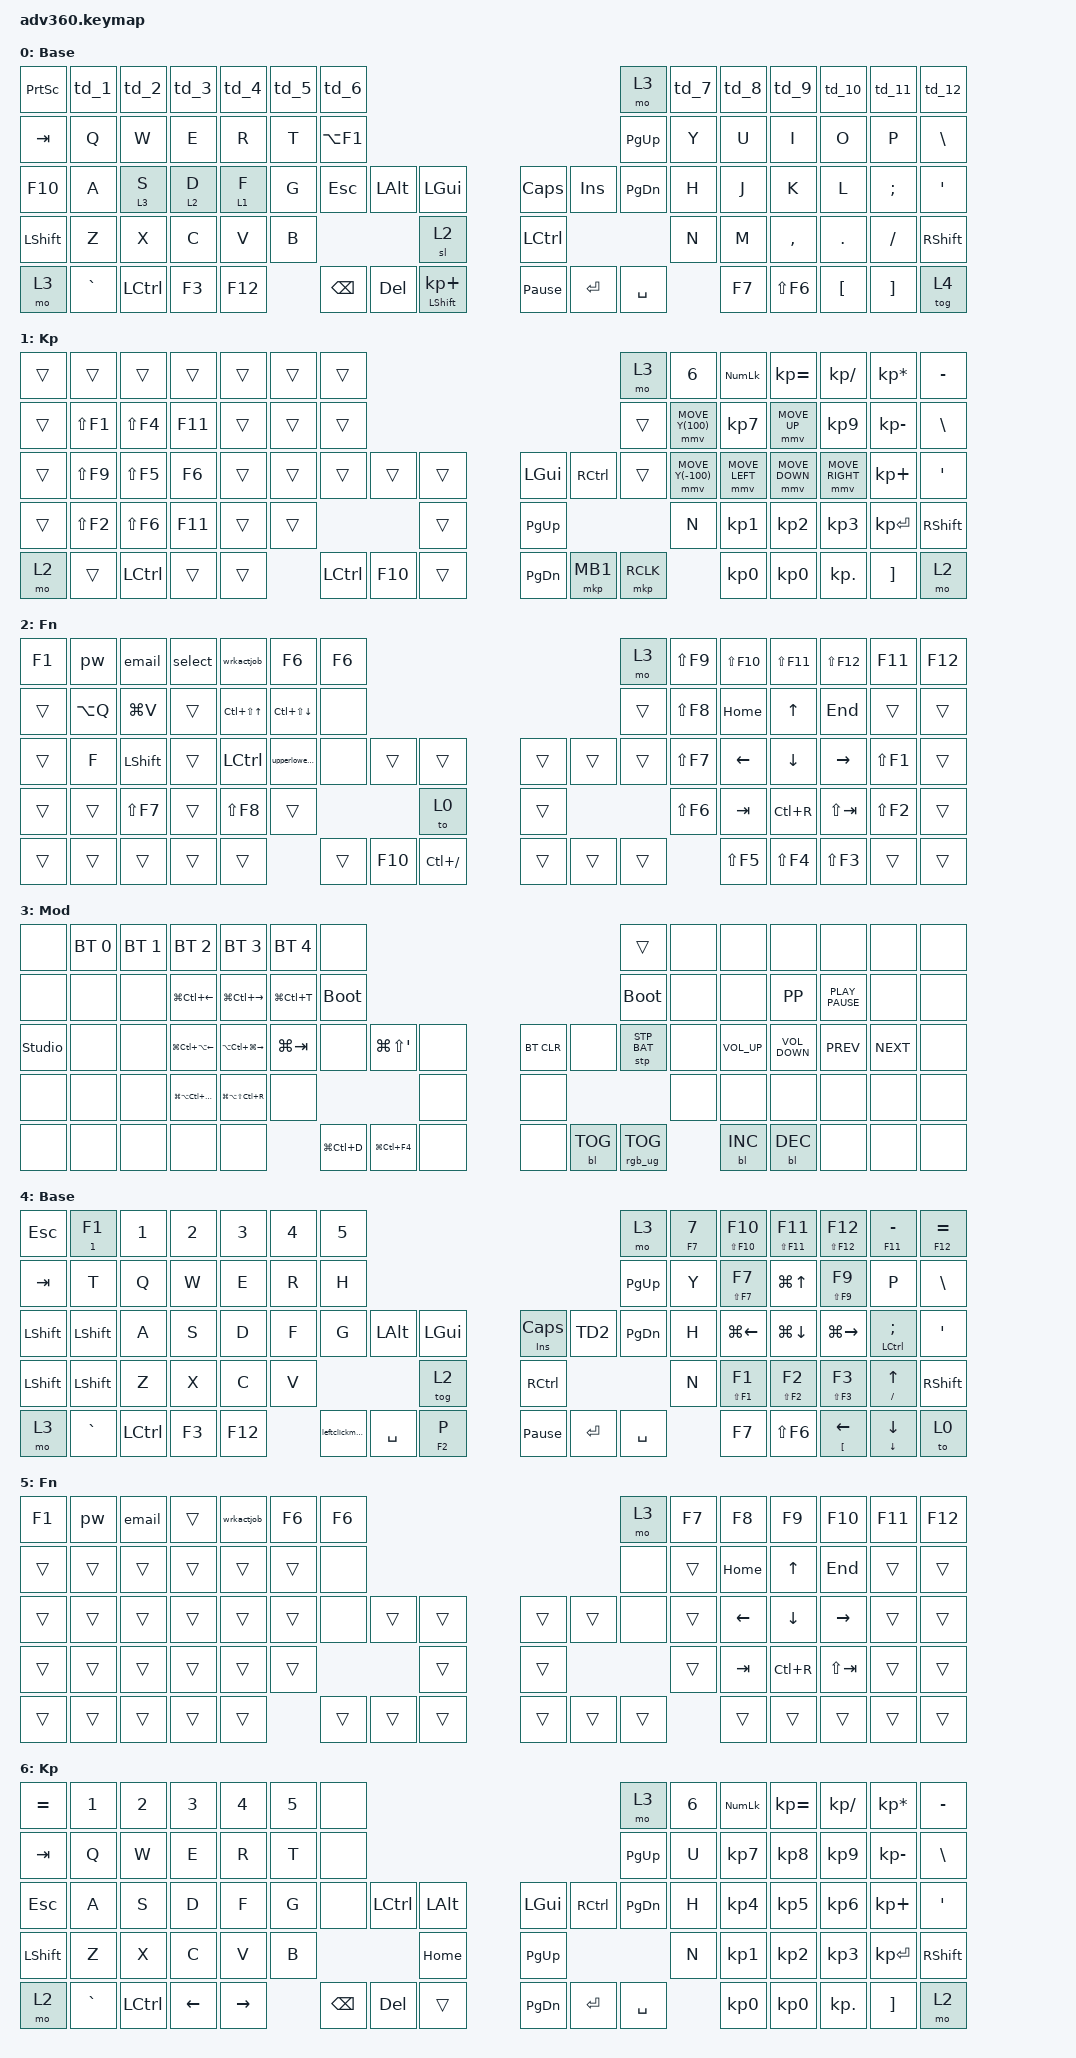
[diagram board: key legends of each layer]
#include <dt-bindings/zmk/stp.h>
#include <behaviors.dtsi>
#include <dt-bindings/zmk/backlight.h>
#include <dt-bindings/zmk/bt.h>
#include <dt-bindings/zmk/keys.h>
#include <dt-bindings/zmk/pointing.h>
#include <dt-bindings/zmk/rgb.h>

/ {
    behaviors {
        #include "macros.dtsi"
      #include "version.dtsi"

        hm: homerow_mods {
            compatible = "zmk,behavior-hold-tap";
            label = "HOMEROW_MODS";
            #binding-cells = <2>;
            tapping-term-ms = <200>;
            quick_tap_ms = <175>;
            flavor = "tap-preferred";
            bindings = <&kp>, <&kp>;
        };

        td: td {
            compatible = "zmk,behavior-tap-dance";
            label = "TD";
            #binding-cells = <0>;
            bindings = <&kp NUMBER_1>, <&kp NUMBER_2>;
        };

        TD2: TD2 {
            compatible = "zmk,behavior-tap-dance";
            label = "TD2";
            #binding-cells = <0>;
            bindings = <&kp HOME>, <&kp END>;
        };

        td_1: td_1 {
            compatible = "zmk,behavior-tap-dance";
            label = "TD_1";
            #binding-cells = <0>;
            bindings = <&mt F1 NUMBER_1>, <&kp LS(F1)>;

            tapping-term-ms = <180>;
        };

        td_2: td_2 {
            compatible = "zmk,behavior-tap-dance";
            label = "TD_2";
            #binding-cells = <0>;
            bindings = <&mt F2 NUMBER_2>, <&kp LS(F2)>;

            tapping-term-ms = <180>;
        };

        td_3: td_3 {
            compatible = "zmk,behavior-tap-dance";
            label = "TD_3";
            #binding-cells = <0>;
            bindings = <&mt F3 NUMBER_3>, <&kp LS(F3)>;

            tapping-term-ms = <180>;
        };

        td_4: td_4 {
            compatible = "zmk,behavior-tap-dance";
            label = "TD_4";
            #binding-cells = <0>;
            bindings = <&mt F4 NUMBER_4>, <&kp LS(F4)>;

            tapping-term-ms = <180>;
        };

        td_5: td_5 {
            compatible = "zmk,behavior-tap-dance";
            label = "TD_5";
            #binding-cells = <0>;
            bindings = <&mt F5 N5>, <&kp LS(F5)>;

            tapping-term-ms = <180>;
        };

        td_6: td_6 {
            compatible = "zmk,behavior-tap-dance";
            label = "TD_6";
            #binding-cells = <0>;
            bindings = <&mt F6 NUMBER_6>, <&kp LS(F6)>;

            tapping-term-ms = <180>;
        };

        td_7: td_7 {
            compatible = "zmk,behavior-tap-dance";
            label = "TD_7";
            #binding-cells = <0>;
            bindings = <&mt F7 N7>, <&kp LS(F7)>;

            tapping-term-ms = <180>;
        };

        td_8: td_8 {
            compatible = "zmk,behavior-tap-dance";
            label = "TD_8";
            #binding-cells = <0>;
            bindings = <&mt F8 N8>, <&kp LS(F8)>;

            tapping-term-ms = <180>;
        };

        td_9: td_9 {
            compatible = "zmk,behavior-tap-dance";
            label = "TD_9";
            #binding-cells = <0>;
            bindings = <&mt F9 N9>, <&kp LS(F9)>;

            tapping-term-ms = <180>;
        };

        td_10: td_10 {
            compatible = "zmk,behavior-tap-dance";
            label = "TD_10";
            #binding-cells = <0>;
            bindings = <&mt F10 N0>, <&kp LS(F10)>;

            tapping-term-ms = <180>;
        };

        td_11: td_11 {
            compatible = "zmk,behavior-tap-dance";
            label = "TD_11";
            #binding-cells = <0>;
            bindings = <&mt F11 MINUS>, <&kp LS(F11)>;

            tapping-term-ms = <180>;
        };

        td_12: td_12 {
            compatible = "zmk,behavior-tap-dance";
            label = "TD_12";
            #binding-cells = <0>;
            bindings = <&mt F12 EQUAL>, <&kp LS(F12)>;

            tapping-term-ms = <180>;
        };

        tdAlt: tdAlt {
            compatible = "zmk,behavior-tap-dance";
            label = "TDALT";
            #binding-cells = <0>;
            bindings = <&mt LEFT_ALT LEFT_ALT>;
        };

        upperlowertoggle: upperlowertoggle {
            compatible = "zmk,behavior-tap-dance";
            label = "UPPERLOWERTOGGLE";
            #binding-cells = <0>;
            bindings = <&kp LA(I)>, <&kp LA(K)>;
        };
    };

    combos {
        compatible = "zmk,combos";

        FieldPlus {
            bindings = <&kp LS(LA(NUMBER_2))>;
            key-positions = <65 70>;
            layers = <0>;
        };

        copyimg {
            bindings = <&mt LC(H) LC(F)>;
            key-positions = <66 69>;
        };

        hh {
            bindings = <&kp LS(HOME)>;
            key-positions = <23 24>;
        };

        hh2 {
            bindings = <&kp LS(END)>;
            key-positions = <55 56>;
        };

        f5 {
            bindings = <&kp F5>;
            key-positions = <49 48>;
            layers = <0>;
        };

        ast {
            bindings = <&kp ASTERISK>;
            key-positions = <24 25>;
        };
    };

    macros {
        pw: pw {
            compatible = "zmk,behavior-macro";
            #binding-cells = <0>;
            bindings = <&kp LS(S) &kp M &kp A &kp R &kp T &kp N2 &kp N2 &kp S &kp H &kp E &kp E &kp T &kp PLUS &kp NUMBER_1>;
            label = "PW";
        };

        email: email {
            compatible = "zmk,behavior-macro";
            #binding-cells = <0>;
            bindings = <&none &kp B &kp R &kp E &kp A &kp N &kp E &kp Y &kp AT &kp T &kp I &kp R &kp E &kp R &kp A &kp C &kp K &kp DOT &kp C &kp O &kp M>;
            label = "EMAIL";
        };

        wrkactjob: wrkactjob {
            compatible = "zmk,behavior-macro";
            #binding-cells = <0>;
            bindings = <&kp W &kp R &kp K &kp A &kp C &kp T &kp J &kp O &kp B &kp SPACE &kp J &kp O &kp B &kp LPAR &kp B &kp R &kp E &kp A &kp N &kp E &kp Y &kp STAR &kp RPAR>;
            label = "WRKACTJOB";
        };

        select: select {
            compatible = "zmk,behavior-macro";
            #binding-cells = <0>;
            bindings = <&none &kp S &kp E &kp L &kp E &kp C &kp T &kp SPACE &kp STAR &kp SPACE &kp F &kp R &kp O &kp M &kp SPACE &kp SEMI &kp LEFT &kp LEFT &kp SPACE &kp W &kp H &kp E &kp R &kp E &kp SPACE &kp NUMBER_1 &kp LEFT &kp LEFT &kp LEFT &kp LEFT &kp LEFT &kp LEFT &kp LEFT &kp LEFT &kp SPACE>;
            label = "SELECT";
        };

        leftclickmelee: leftclickmelee {
            compatible = "zmk,behavior-macro";
            #binding-cells = <0>;
            bindings = <&kp U &kp V>;
            label = "LEFTCLICKMELEE";
            wait-ms = <90>;
        };

        ctrlpd: ctrlpd {
            compatible = "zmk,behavior-macro";
            #binding-cells = <0>;
            bindings = <&kp LEFT_CONTROL &kp PAGE_DOWN &kp LCTRL>;
            label = "CTRLPD";
            wait-ms = <90>;
        };

        ctrlpu: ctrlpu {
            compatible = "zmk,behavior-macro";
            #binding-cells = <0>;
            bindings = <&kp LCTRL &kp PAGE_UP &kp LCTRL>;
            label = "CTRLPU";
            wait-ms = <90>;
        };
    };

    keymap {
        compatible = "zmk,keymap";

        default_layer {
            display-name = "Base";
            bindings = <
&kp PRINTSCREEN  &td_1      &td_2      &td_3    &td_4    &td_5  &td_6                                                                                 &mo 3          &td_7  &td_8   &td_9       &td_10            &td_11             &td_12
&kp TAB          &kp Q      &kp W      &kp E    &kp R    &kp T  &kp LA(F1)                                                                            &kp PAGE_UP    &kp Y  &kp U   &kp I       &kp O             &kp P              &kp BSLH
&kp F10          &kp A      &lt 3 S    &lt 2 D  &lt 1 F  &kp G  &kp ESCAPE     &kp LEFT_ALT  &kp LEFT_GUI                &kp CAPS         &kp INSERT  &kp PAGE_DOWN  &kp H  &kp J   &kp K       &kp L             &kp SEMICOLON      &kp SQT
&kp LSHFT        &kp Z      &kp X      &kp C    &kp V    &kp B                               &sl 2                       &kp LCTRL                                   &kp N  &kp M   &kp COMMA   &kp PERIOD        &kp SLASH          &kp RSHFT
&mo 3            &kp GRAVE  &kp LCTRL  &kp F3   &kp F12         &kp BACKSPACE  &kp DELETE    &mt LEFT_SHIFT KP_PLUS      &kp PAUSE_BREAK  &kp ENTER   &kp SPACE             &kp F7  &kp LS(F6)  &kp LEFT_BRACKET  &kp RIGHT_BRACKET  &tog 4
            >;
        };

        keypad {
            display-name = "Kp";
            bindings = <
&trans  &trans      &trans      &trans   &trans  &trans  &trans                                                &mo 3      &kp N6             &kp KP_NUM       &kp KP_EQUAL     &kp KP_DIVIDE    &kp KP_MULTIPLY  &kp MINUS
&trans  &kp LS(F1)  &kp LS(F4)  &kp F11  &trans  &trans  &trans                                                &trans     &mmv MOVE_Y(100)   &kp KP_N7        &mmv MOVE_UP     &kp KP_N9        &kp KP_MINUS     &kp BSLH
&trans  &kp LS(F9)  &kp LS(F5)  &kp F6   &trans  &trans  &trans     &trans   &trans      &kp LGUI   &kp RCTRL  &trans     &mmv MOVE_Y(-100)  &mmv MOVE_LEFT   &mmv MOVE_DOWN   &mmv MOVE_RIGHT  &kp KP_PLUS      &kp SQT
&trans  &kp LS(F2)  &kp LS(F6)  &kp F11  &trans  &trans                      &trans      &kp PG_UP                        &kp N              &kp KP_N1        &kp KP_N2        &kp KP_N3        &kp KP_ENTER     &kp RSHFT
&mo 2   &trans      &kp LCTRL   &trans   &trans          &kp LCTRL  &kp F10  &trans      &kp PG_DN  &mkp MB1   &mkp RCLK                     &kp KP_NUMBER_0  &kp KP_NUMBER_0  &kp KP_DOT       &kp RBKT         &mo 2
            >;
        };

        fn {
            display-name = "Fn";
            bindings = <
&kp F1  &pw        &email          &select  &wrkactjob            &kp F6             &kp F6                                              &mo 3   &kp LS(F9)  &kp LS(F10)  &kp LS(F11)   &kp LS(F12)  &kp F11     &kp F12
&trans  &kp LA(Q)  &kp LG(V)       &trans   &kp LC(LS(UP_ARROW))  &kp LC(LS(DOWN))   &none                                               &trans  &kp LS(F8)  &kp HOME     &kp UP_ARROW  &kp END      &trans      &trans
&trans  &kp F      &kp LEFT_SHIFT  &trans   &kp LCTRL             &upperlowertoggle  &none   &trans   &trans             &trans  &trans  &trans  &kp LS(F7)  &kp LEFT     &kp DOWN      &kp RIGHT    &kp LS(F1)  &trans
&trans  &trans     &kp LS(F7)      &trans   &kp LS(F8)            &trans                              &to 0              &trans                  &kp LS(F6)  &kp TAB      &kp LC(R)     &kp LS(TAB)  &kp LS(F2)  &trans
&trans  &trans     &trans          &trans   &trans                                   &trans  &kp F10  &kp LC(SLASH)      &trans  &trans  &trans              &kp LS(F5)   &kp LS(F4)    &kp LS(F3)   &trans      &trans
            >;
        };

        mod {
            display-name = "Mod";
            bindings = <
&none           &bt BT_SEL 0  &bt BT_SEL 1  &bt BT_SEL 2               &bt BT_SEL 3           &bt BT_SEL 4   &none                                                              &trans           &none  &none            &none              &none             &none       &none
&none           &none         &none         &kp LG(LC(LEFT))           &kp LG(LC(RIGHT))      &kp LG(LC(T))  &bootloader                                                        &bootloader      &none  &none            &kp K_PP           &kp K_PLAY_PAUSE  &none       &none
&studio_unlock  &none         &none         &kp LG(LC(LA(LEFT)))       &kp LA(LC(LG(RIGHT)))  &kp LG(TAB)    &none          &kp LG(LS(SQT))  &none      &bt BT_CLR  &none       &stp STP_BAT     &none  &kp C_VOLUME_UP  &kp C_VOLUME_DOWN  &kp K_PREV        &kp K_NEXT  &none
&none           &none         &none         &kp LG(LA(LC(LS(EQUAL))))  &kp LG(LA(LS(LC(R))))  &none                                          &none      &none                                    &none  &none            &none              &none             &none       &none
&none           &none         &none         &none                      &none                                 &kp LG(LC(D))  &kp LG(LC(F4))   &none      &none       &bl BL_TOG  &rgb_ug RGB_TOG         &bl BL_INC       &bl BL_DEC         &none             &none       &none
            >;
        };

        layer_8 {
            display-name = "Base";
            bindings = <
&kp ESCAPE      &mt NUMBER_1 F1  &kp NUMBER_1  &kp NUMBER_2  &kp NUMBER_3  &kp NUMBER_4  &kp N5                                                                           &mo 3          &mt F7 N7  &hm LS(F10) F10     &hm LS(F11) F11   &hm LS(F12) F12        &mt F11 MINUS        &mt F12 EQUAL
&kp TAB         &kp T            &kp Q         &kp W         &kp E         &kp R         &kp H                                                                            &kp PAGE_UP    &kp Y      &hm LS(F7) F7       &kp LG(UP_ARROW)  &hm LS(F9) F9          &kp P                &kp BSLH
&kp LEFT_SHIFT  &kp LEFT_SHIFT   &kp A         &kp S         &kp D         &kp F         &kp G            &kp LEFT_ALT  &kp LEFT_GUI      &mt INSERT CAPSLOCK  &TD2       &kp PAGE_DOWN  &kp H      &kp LG(LEFT_ARROW)  &kp LG(DOWN)      &kp LG(RIGHT)          &hm LCTRL SEMICOLON  &kp SQT
&kp LSHFT       &kp LEFT_SHIFT   &kp Z         &kp X         &kp C         &kp V                                        &tog 2            &kp RCTRL                                      &kp N      &hm LS(F1) F1       &hm LS(F2) F2     &hm LS(F3) F3          &mt SLASH UP_ARROW   &kp RSHFT
&mo 3           &kp GRAVE        &kp LCTRL     &kp F3        &kp F12                     &leftclickmelee  &kp SPACE     &mt F2 P          &kp PAUSE_BREAK      &kp ENTER  &kp SPACE                 &kp F7              &kp LS(F6)        &mt LEFT_BRACKET LEFT  &mt DOWN DOWN        &to 0
            >;
        };

        layer_5 {
            display-name = "Fn";
            bindings = <
&kp F1  &pw     &email  &trans  &wrkactjob  &kp F6  &kp F6                                      &mo 3   &kp F7  &kp F8    &kp F9        &kp F10      &kp F11  &kp F12
&trans  &trans  &trans  &trans  &trans      &trans  &none                                       &none   &trans  &kp HOME  &kp UP_ARROW  &kp END      &trans   &trans
&trans  &trans  &trans  &trans  &trans      &trans  &none   &trans  &trans      &trans  &trans  &none   &trans  &kp LEFT  &kp DOWN      &kp RIGHT    &trans   &trans
&trans  &trans  &trans  &trans  &trans      &trans                  &trans      &trans                  &trans  &kp TAB   &kp LC(R)     &kp LS(TAB)  &trans   &trans
&trans  &trans  &trans  &trans  &trans              &trans  &trans  &trans      &trans  &trans  &trans          &trans    &trans        &trans       &trans   &trans
            >;
        };

        layer_6 {
            display-name = "Kp";
            bindings = <
&kp EQUAL  &kp N1     &kp N2     &kp N3    &kp N4     &kp N5  &none                                                    &mo 3          &kp N6  &kp KP_NUM       &kp KP_EQUAL     &kp KP_DIVIDE  &kp KP_MULTIPLY  &kp MINUS
&kp TAB    &kp Q      &kp W      &kp E     &kp R      &kp T   &none                                                    &kp PAGE_UP    &kp U   &kp KP_N7        &kp KP_N8        &kp KP_N9      &kp KP_MINUS     &kp BSLH
&kp ESC    &kp A      &kp S      &kp D     &kp F      &kp G   &none     &kp LCTRL  &kp LALT      &kp LGUI   &kp RCTRL  &kp PAGE_DOWN  &kp H   &kp KP_N4        &kp KP_N5        &kp KP_N6      &kp KP_PLUS      &kp SQT
&kp LSHFT  &kp Z      &kp X      &kp C     &kp V      &kp B                        &kp HOME      &kp PG_UP                            &kp N   &kp KP_N1        &kp KP_N2        &kp KP_N3      &kp KP_ENTER     &kp RSHFT
&mo 2      &kp GRAVE  &kp LCTRL  &kp LEFT  &kp RIGHT          &kp BSPC  &kp DEL    &trans        &kp PG_DN  &kp ENTER  &kp SPACE              &kp KP_NUMBER_0  &kp KP_NUMBER_0  &kp KP_DOT     &kp RBKT         &mo 2
            >;
        };
    };
};
